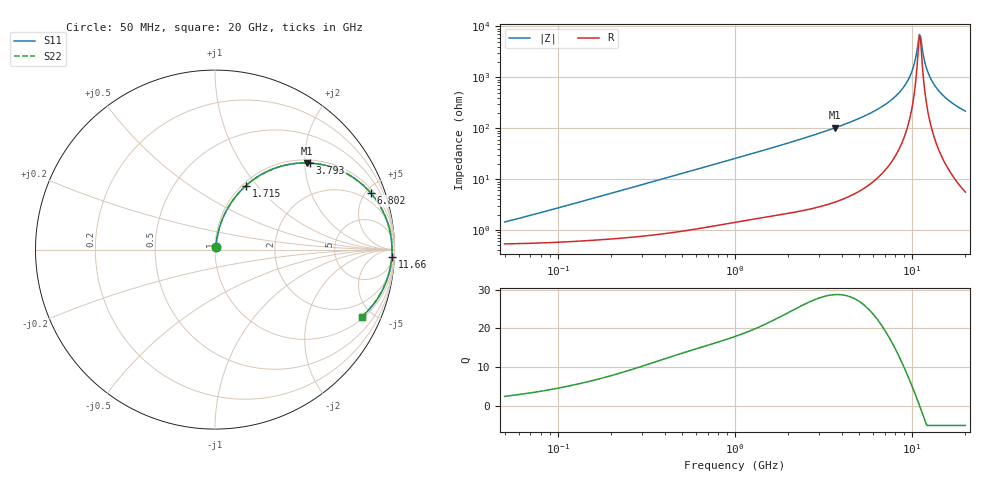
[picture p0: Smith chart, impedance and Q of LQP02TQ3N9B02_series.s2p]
!Murata Part Number: LQP02TQ3N9B02
!These Parameters are Measured in Series Mode Connection
!  o--[Z]--o
!Port1  Port2
!  o-------o
!Freq. Start=50[MHz] Stop=20[GHz], 401[Steps]
# Hz S RI R 50
!Freq.(Hz) S11(Real) S11(Imag) S21(Real) S21(Imag) S12(Real) S12(Imag) S22(Real) S22(Imag)
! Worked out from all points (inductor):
!   401 points, 50 MHz to 20 GHz, reference 50 ohm
!   read as one part in series: L = 4.25 nH near 61.67 MHz
!   highest Q = 28.7 at 3.681 GHz (marker M1), where L = 4.42 nH
!   self-resonance near 10.99 GHz
!   S11 on the Smith chart (normalised r, x): 50 MHz: 1.01, +0.03; 1.715 GHz: 1.04, +0.88; 3.793 GHz: 1.07, +2.12; 6.802 GHz: 1.26, +5.39; 11.66 GHz: 16, -45; 20 GHz: 1.11, -4.32
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5e7  0.0055 0.0133  0.9945 -0.0133  0.9945 -0.0133  0.0055 0.0133
1.364002e8  0.00735 0.0356  0.9926 -0.0356  0.9926 -0.0356  0.00735 0.0356
3.721004e8  0.0172 0.094  0.9828 -0.094  0.9828 -0.094  0.0172 0.094
1e9  0.0725 0.233  0.9275 -0.233  0.9275 -0.233  0.0725 0.233
1.714689e9  0.172 0.3558  0.828 -0.3558  0.828 -0.3558  0.172 0.3558
2.728004e9  0.3465 0.4578  0.6535 -0.4578  0.6535 -0.4578  0.3465 0.4578
3.680849e9  0.5108 0.4828  0.4892 -0.4828  0.4892 -0.4828  0.5108 0.4828
3.792786e9  0.5289 0.4821  0.4711 -0.4821  0.4711 -0.4821  0.5289 0.4821
5.273168e9  0.7313 0.4247  0.2687 -0.4247  0.2687 -0.4247  0.7313 0.4247
6.802353e9  0.8674 0.3156  0.1326 -0.3156  0.1326 -0.3156  0.8674 0.3156
7.442007e9  0.9056 0.2653  0.0944 -0.2653  0.0944 -0.2653  0.9056 0.2653
8.644534e9  0.9541 0.1711  0.0459 -0.1711  0.0459 -0.1711  0.9541 0.1711
9.600142e9  0.9754 0.0995  0.0246 -0.0995  0.0246 -0.0995  0.9754 0.0995
1.019291e10  0.9826 0.0573  0.0174 -0.0573  0.0174 -0.0573  0.9826 0.0573
1.082228e10  0.9861 0.0147  0.0139 -0.0147  0.0139 -0.0147  0.9861 0.0147
1.098561e10  0.9864 0.00395  0.0136 -0.00395  0.0136 -0.00395  0.9864 0.00395
1.131968e10  0.9862 -0.0175  0.0138 0.0175  0.0138 0.0175  0.9862 -0.0175
1.166392e10  0.9851 -0.0389  0.0149 0.0389  0.0149 0.0389  0.9851 -0.0389
1.257102e10  0.9783 -0.0921  0.0217 0.0921  0.0217 0.0921  0.9783 -0.0921
1.396067e10  0.9591 -0.1646  0.0409 0.1646  0.0409 0.1646  0.9591 -0.1646
1.646126e10  0.9075 -0.2701  0.0925 0.2701  0.0925 0.2701  0.9075 -0.2701
2e10  0.8173 -0.3738  0.1827 0.3738  0.1827 0.3738  0.8173 -0.3738
